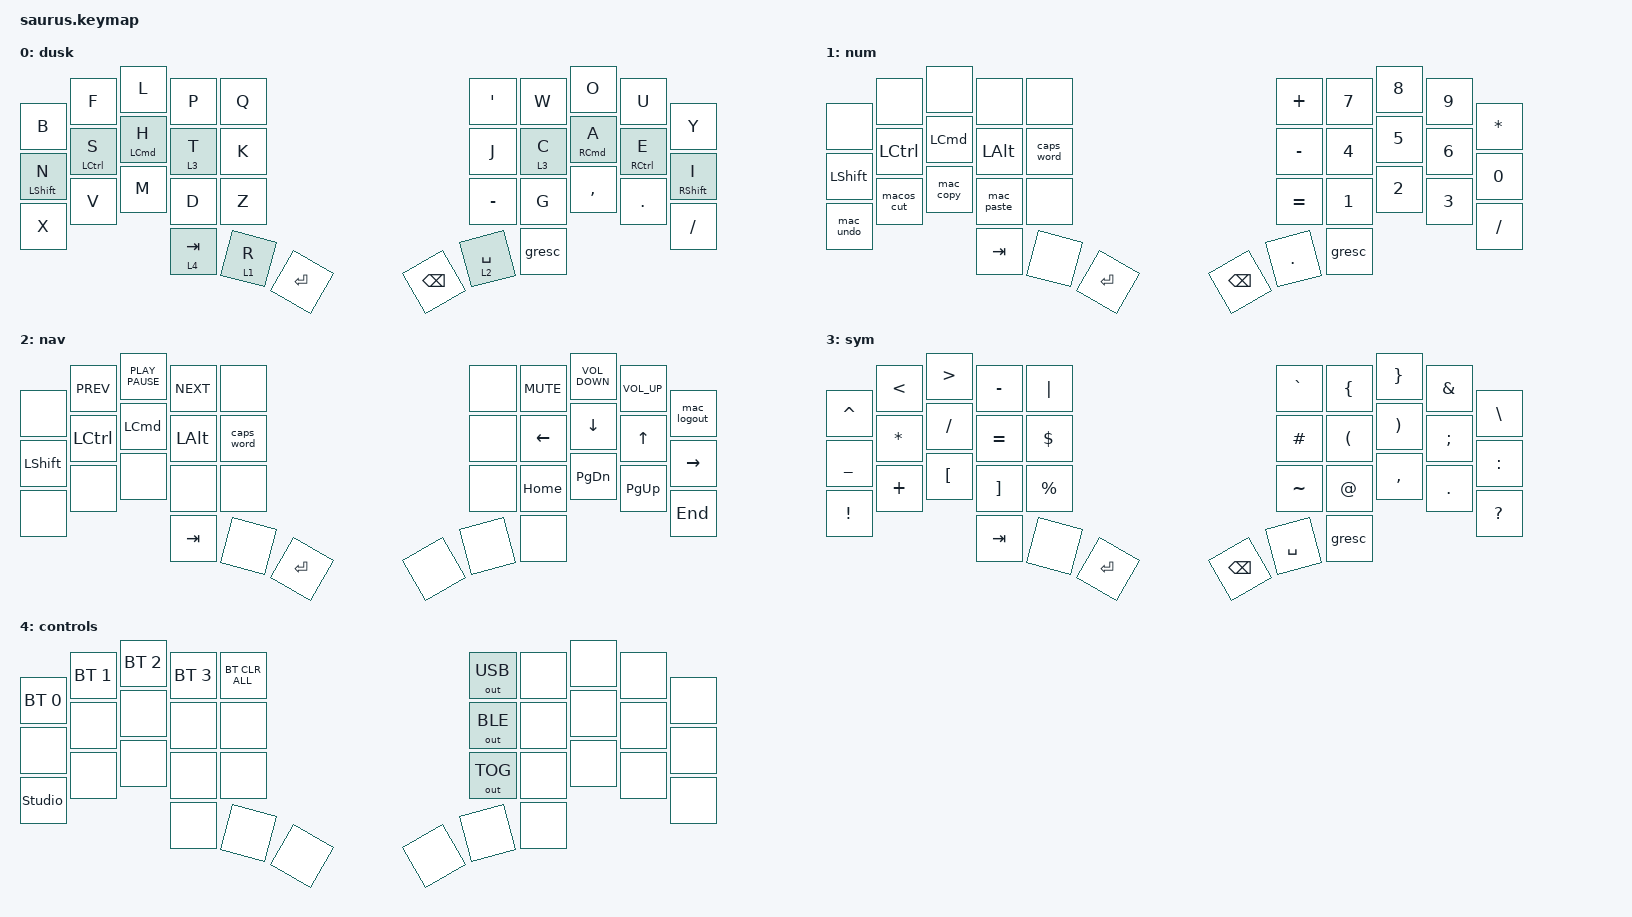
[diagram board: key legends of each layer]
#include <behaviors.dtsi>
#include <dt-bindings/zmk/bt.h>
#include <dt-bindings/zmk/outputs.h>
#include <dt-bindings/zmk/keys.h>

&mt {
    flavor = "balanced";
    quick-tap-ms = <150>;
};

&lt {
    flavor = "balanced";
    quick-tap-ms = <200>;
};

&gresc {
    mods = <(MOD_RGUI|MOD_LGUI)>;
    keep-mods = <(MOD_LGUI)>;
};

/ {
    combos { compatible = "zmk,combos"; };

    macros {
        mac_logout: mac_logout {
            compatible = "zmk,behavior-macro";
            #binding-cells = <0>;
            bindings = <&kp LG(LC(Q))>;
            label = "MAC_LOGOUT";
        };

        mac_copy: mac_copy {
            compatible = "zmk,behavior-macro";
            #binding-cells = <0>;
            bindings = <&kp LG(C)>;
            label = "MAC_COPY";
        };

        mac_paste: mac_paste {
            compatible = "zmk,behavior-macro";
            #binding-cells = <0>;
            bindings = <&kp LG(V)>;
            label = "MAC_PASTE";
        };

        macos_cut: macos_cut {
            compatible = "zmk,behavior-macro";
            #binding-cells = <0>;
            bindings = <&kp LG(X)>;
            label = "MACOS_CUT";
        };

        mac_undo: mac_undo {
            compatible = "zmk,behavior-macro";
            #binding-cells = <0>;
            bindings = <&kp LG(Z)>;
            label = "MAC_UNDO";
        };
    };

    behaviors {
        hml: hml {
            compatible = "zmk,behavior-hold-tap";
            label = "HML";
            bindings = <&kp>, <&kp>;

            #binding-cells = <2>;
            tapping-term-ms = <400>;
            quick-tap-ms = <175>;
            flavor = "balanced";
            hold-trigger-on-release;
            hold-trigger-key-positions = <33 34 35 29 19 5 7 6 8 9 28 18 27 17 26 16 15 25 31 30 32>;
            require-prior-idle-ms = <100>;
        };

        hmr: hmr {
            compatible = "zmk,behavior-hold-tap";
            label = "HMR";
            bindings = <&kp>, <&kp>;

            #binding-cells = <2>;
            tapping-term-ms = <400>;
            quick-tap-ms = <175>;
            flavor = "balanced";
            hold-trigger-key-positions = <32 31 30 24 23 22 21 20 14 4 3 13 12 2 1 11 0 10 34 33>;
            hold-trigger-on-release;
            require-prior-idle-ms = <100>;
        };

        ltl: ltl {
            compatible = "zmk,behavior-hold-tap";
            label = "LTL";
            bindings = <&mo>, <&kp>;

            #binding-cells = <2>;
            tapping-term-ms = <280>;
            quick-tap-ms = <175>;
            flavor = "balanced";
            hold-trigger-on-release;
            hold-trigger-key-positions = <5 6 7 8 9 15 16 17 18 19 25 26 27 28 29 34 35 33>;
            require-prior-idle-ms = <100>;
        };

        ltr: ltr {
            compatible = "zmk,behavior-hold-tap";
            label = "LTR";
            bindings = <&mo>, <&kp>;

            #binding-cells = <2>;
            tapping-term-ms = <280>;
            quick-tap-ms = <175>;
            flavor = "balanced";
            hold-trigger-key-positions = <0 10 11 12 13 14 20 21 22 23 24 30 31 32 1 2 3 4 12>;
            hold-trigger-on-release;
            require-prior-idle-ms = <100>;
        };
    };

    keymap {
        compatible = "zmk,keymap";

        dusk {
            bindings = <
  &kp B              &kp F                &kp L                &kp P     &kp Q        &kp SQT        &kp W        &kp O                 &kp U                 &kp Y
  &hml LEFT_SHIFT N  &hml LEFT_CONTROL S  &hml LEFT_COMMAND H  &ltl 3 T  &kp K        &kp J          &ltr 3 C     &hmr RIGHT_COMMAND A  &hmr RIGHT_CONTROL E  &hmr RIGHT_SHIFT I
  &kp X              &kp V                &kp M                &kp D     &kp Z        &kp MINUS      &kp G        &kp COMMA             &kp PERIOD            &kp SLASH
                                          &lt 4 TAB            &lt 1 R   &kp ENTER    &kp BACKSPACE  &lt 2 SPACE  &gresc
            >;
        };

        num {
            bindings = <
  &none           &none             &none      &none         &none         &kp PLUS       &kp NUMBER_7  &kp NUMBER_8  &kp NUMBER_9  &kp ASTERISK
  &kp LEFT_SHIFT  &kp LEFT_CONTROL  &kp LCMD   &kp LEFT_ALT  &caps_word    &kp MINUS      &kp NUMBER_4  &kp NUMBER_5  &kp NUMBER_6  &kp NUMBER_0
  &mac_undo       &macos_cut        &mac_copy  &mac_paste    &none         &kp EQUAL      &kp NUMBER_1  &kp NUMBER_2  &kp NUMBER_3  &kp SLASH
                                    &kp TAB    &none         &kp ENTER     &kp BACKSPACE  &kp PERIOD    &gresc
            >;
        };

        nav {
            bindings = <
  &none           &kp K_PREV        &kp K_PLAY_PAUSE  &kp K_NEXT  &none         &none  &kp K_MUTE  &kp C_VOLUME_DOWN  &kp C_VOL_UP  &mac_logout
  &kp LEFT_SHIFT  &kp LEFT_CONTROL  &kp LCMD          &kp LALT    &caps_word    &none  &kp LEFT    &kp DOWN_ARROW     &kp UP_ARROW  &kp RIGHT
  &none           &none             &none             &none       &none         &none  &kp HOME    &kp PAGE_DOWN      &kp PG_UP     &kp END
                                    &kp TAB           &none       &kp ENTER     &none  &none       &none
            >;
        };

        sym {
            bindings = <
  &kp CARET        &kp LESS_THAN  &kp GREATER_THAN  &kp MINUS          &kp PIPE       &kp GRAVE      &kp LEFT_BRACE        &kp RIGHT_BRACE        &kp AMPERSAND  &kp BACKSLASH
  &kp UNDER        &kp ASTERISK   &kp SLASH         &kp EQUAL          &kp DOLLAR     &kp HASH       &kp LEFT_PARENTHESIS  &kp RIGHT_PARENTHESIS  &kp SEMICOLON  &kp COLON
  &kp EXCLAMATION  &kp PLUS       &kp LEFT_BRACKET  &kp RIGHT_BRACKET  &kp PERCENT    &kp TILDE      &kp AT_SIGN           &kp COMMA              &kp PERIOD     &kp QUESTION
                                  &kp TAB           &none              &kp ENTER      &kp BACKSPACE  &kp SPACE             &gresc
            >;
        };

        controls {
            bindings = <
  &bt BT_SEL 0    &bt BT_SEL 1  &bt BT_SEL 2  &bt BT_SEL 3  &bt BT_CLR_ALL    &out OUT_USB  &none  &none  &none  &none
  &none           &none         &none         &none         &none             &out OUT_BLE  &none  &none  &none  &none
  &studio_unlock  &none         &none         &none         &none             &out OUT_TOG  &none  &none  &none  &none
                                &none         &none         &none             &none  &none  &none
            >;
        };
    };
};
